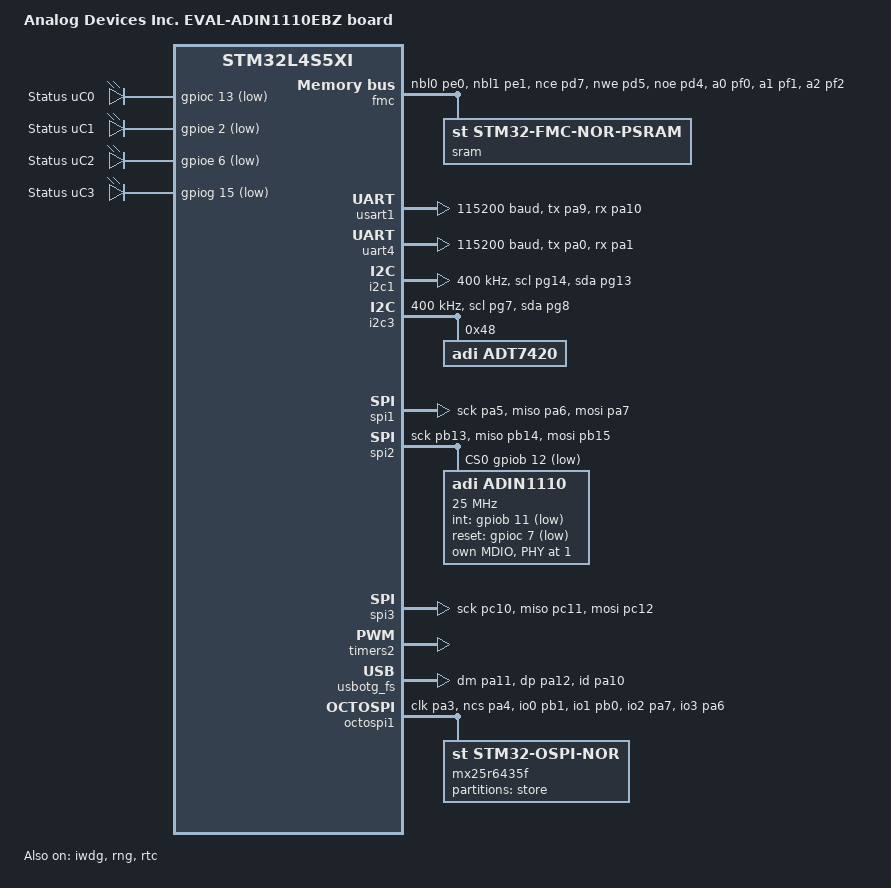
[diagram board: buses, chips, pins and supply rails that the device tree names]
/*
 * Copyright (c) 2024 BayLibre
 *
 * SPDX-License-Identifier: Apache-2.0
 */

/dts-v1/;

#include <st/l4/stm32l4s5Xi.dtsi>
#include <st/l4/stm32l4s5qiix-pinctrl.dtsi>
#include "arduino_r3_connector.dtsi"
#include <zephyr/dt-bindings/memory-controller/stm32-fmc-nor-psram.h>

/ {
	model = "Analog Devices Inc. EVAL-ADIN1110EBZ board";
	compatible = "adi,eval-adin1110ebz";

	chosen {
		zephyr,console = &usart1;
		zephyr,shell-uart = &usart1;
		zephyr,sram = &sram0;
		zephyr,flash = &flash0;
		zephyr,code-partition = &slot0_partition;
		zephyr,flash-controller = &mx25r6435f;
	};

	ram0: psram@60000000 {
		compatible = "zephyr,memory-region", "mmio-sram";
		device_type = "memory";
		reg = <0x60000000 DT_SIZE_M(8)>;
		zephyr,memory-region = "RAM0";
	};

	leds { /* Respecting pcb silkscreen naming */
		compatible = "gpio-leds";
		green_led: led_uC0 {
			gpios = <&gpioc 13 GPIO_ACTIVE_LOW>;
			label = "Status uC0";
		};
		red_led: led_uC1 {
			gpios = <&gpioe 2 GPIO_ACTIVE_LOW>;
			label = "Status uC1 ";
		};
		yellow_led: led_uC2 {
			gpios = <&gpioe 6 GPIO_ACTIVE_LOW>;
			label = "Status uC2";
		};
		blue_led: led_uC3 {
			gpios = <&gpiog 15 GPIO_ACTIVE_LOW>;
			label = "Status uC3";
		};
	};

	aliases {
		led0 = &green_led;
		watchdog0 = &iwdg;
		ambient-temp0 = &adt7420;
	};

	soc {
		fmc: memory-controller@a0000000 {
			compatible = "st,stm32-fmc";
			reg = <0xa0000000 0x400>;
			clocks = <&rcc STM32_CLOCK_BUS_AHB3 0x00000001>;

			sram {
				compatible = "st,stm32-fmc-nor-psram";

				#address-cells = <1>;
				#size-cells = <0>;
			};
		};
	};
};

&clk_lsi {
	status = "okay";
};

&clk_hsi48 {
	status = "okay";
};

&clk_hsi {
	status = "okay";
};

&pll {
	div-m = <4>;
	mul-n = <40>;
	div-q = <2>;
	div-r = <2>;
	clocks = <&clk_hsi>;
	status = "okay";
};

&rcc {
	clocks = <&pll>;
	clock-frequency = <DT_FREQ_M(80)>;
	ahb-prescaler = <1>;
	apb1-prescaler = <1>;
	apb2-prescaler = <1>;
};

&flash0 {
	partitions {
		compatible = "fixed-partitions";
		#address-cells = <1>;
		#size-cells = <1>;

		boot_partition: partition@0 {
			label = "mcuboot";
			reg = <0x00000000 DT_SIZE_K(64)>;
			read-only;
		};

		/*
		 * The flash starting at offset 0x10000 and ending at
		 * offset 0x1ffff is reserved for use by the application.
		 */

		slot0_partition: partition@20000 {
			label = "image-0";
			reg = <0x00020000 DT_SIZE_K(432)>;
		};
		slot1_partition: partition@8c000 {
			label = "image-1";
			reg = <0x0008C000 DT_SIZE_K(432)>;
		};
		scratch_partition: partition@f8000 {
			label = "image-scratch";
			reg = <0x000F8000 DT_SIZE_K(16)>;
		};

		storage_partition: partition@fc000 {
			label = "storage";
			reg = <0x000fc000 DT_SIZE_K(16)>;
		};
	};
};

&iwdg {
	status = "okay";
};

&rng {
	status = "okay";
};

&dma1 {
	status = "okay";
};

&dmamux1 {
	status = "okay";
};

&usart1 { /* USB FT232 */
	pinctrl-0 = <&usart1_tx_pa9 &usart1_rx_pa10>;
	pinctrl-names = "default";
	current-speed = <115200>;
	status = "okay";
};

&uart4 { /* ARDUINO P405 1 & 2 */
	pinctrl-0 = <&uart4_tx_pa0 &uart4_rx_pa1>;
	pinctrl-names = "default";
	current-speed = <115200>;
};

&i2c1 {
	pinctrl-0 = <&i2c1_scl_pg14 &i2c1_sda_pg13>;
	pinctrl-names = "default";
	status = "okay";
	clock-frequency = <I2C_BITRATE_FAST>;
};

&i2c3 {
	pinctrl-0 = <&i2c3_scl_pg7 &i2c3_sda_pg8>;
	pinctrl-names = "default";
	status = "okay";
	clock-frequency = <I2C_BITRATE_FAST>;

	adt7420: adt7420@48 {
		compatible = "adi,adt7420";
		reg = <0x48>;
	};
};

&spi1 {
	pinctrl-0 = <&spi1_sck_pa5 &spi1_miso_pa6 &spi1_mosi_pa7>;
	pinctrl-names = "default";
	cs-gpios = <&gpioa 2 (GPIO_ACTIVE_LOW | GPIO_PULL_UP)>;
};

&spi2 {
	pinctrl-0 = <&spi2_sck_pb13 &spi2_miso_pb14 &spi2_mosi_pb15>;
	pinctrl-names = "default";
	cs-gpios = <&gpiob 12 (GPIO_ACTIVE_LOW | GPIO_PULL_UP)>;
	dmas = <&dmamux1 2 13 (STM32_DMA_MEMORY_TO_PERIPH | STM32_DMA_MEM_INC |
		       STM32_DMA_MEM_8BITS | STM32_DMA_PERIPH_8BITS)>,
		       <&dmamux1 3 12 (STM32_DMA_PERIPH_TO_MEMORY | STM32_DMA_MEM_INC |
		       STM32_DMA_MEM_8BITS | STM32_DMA_PERIPH_8BITS)>;
		dma-names = "tx", "rx";
	status = "okay";

	adin1110: adin1110@0 {
		compatible = "adi,adin1110";
		reg = <0x0>;
		spi-max-frequency = <25000000>;
		int-gpios = <&gpiob 11 GPIO_ACTIVE_LOW>;
		reset-gpios = <&gpioc 7 GPIO_ACTIVE_LOW>;
		status = "okay";
		spi-oa;
		spi-oa-protection;

		port1 {
			local-mac-address = [ 00 E0 22 FE DA C8 ];
		};
		mdio {
			compatible = "adi,adin2111-mdio";
			#address-cells = <1>;
			#size-cells = <0>;

			ethernet-phy@1 {
				reg = <0x1>;
				compatible = "adi,adin2111-phy";
			};
		};
	};
};

&spi3 {
	pinctrl-0 = <&spi3_sck_pc10 &spi3_miso_pc11 &spi3_mosi_pc12>;
	pinctrl-names = "default";
	status = "okay";
};

&timers2 {
	status = "okay";

	pwm2: pwm {
		status = "okay";
		pinctrl-0 = <&tim2_ch1_pa15>;
		pinctrl-names = "default";
	};
};

&rtc {
	clocks = <&rcc STM32_CLOCK_BUS_APB1 0x10000000>,
		 <&rcc STM32_SRC_LSI RTC_SEL(2)>;
	status = "okay";
};

zephyr_udc0: &usbotg_fs {
	pinctrl-0 = <&usb_otg_fs_dm_pa11 &usb_otg_fs_dp_pa12
		     &usb_otg_fs_id_pa10>;
	pinctrl-names = "default";
	status = "okay";
};

&octospi1 {
	pinctrl-0 = <&octospim_p1_clk_pa3 &octospim_p1_ncs_pa4
		     &octospim_p1_io0_pb1 &octospim_p1_io1_pb0
		     &octospim_p1_io2_pa7 &octospim_p1_io3_pa6>;
	pinctrl-names = "default";
	dmas = <&dma1 0 40 0x480>; /* request 40 for OCTOSPI1 */
	dma-names = "tx_rx";

	status = "okay";

	mx25r6435f: ospi-nor-flash@90000000 {
		compatible = "st,stm32-ospi-nor";
		reg = <0x90000000 DT_SIZE_M(8)>; /* 64 Megabits */
		ospi-max-frequency = <DT_FREQ_M(26)>; /* for Voltage Range 2 */
		spi-bus-width = <OSPI_QUAD_MODE>;
		data-rate = <OSPI_STR_TRANSFER>;
		writeoc="PP_1_4_4";

		partitions {
			compatible = "fixed-partitions";
			#address-cells = <1>;
			#size-cells = <1>;

			store_partition: partition@0 {
				label = "store";
				reg = <0x00000000 DT_SIZE_M(8)>;
			};
		};
	};
};

&fmc {
	pinctrl-0 = <&fmc_nbl0_pe0 &fmc_nbl1_pe1
		     &fmc_nce_pd7 &fmc_nwe_pd5 &fmc_noe_pd4
		     &fmc_a0_pf0 &fmc_a1_pf1 &fmc_a2_pf2 &fmc_a3_pf3
		     &fmc_a4_pf4 &fmc_a5_pf5 &fmc_a6_pf12 &fmc_a7_pf13
		     &fmc_a8_pf14 &fmc_a9_pf15 &fmc_a10_pg0 &fmc_a11_pg1
		     &fmc_a12_pg2 &fmc_a13_pg3 &fmc_a14_pg4 &fmc_a15_pg5
		     &fmc_a16_pd11 &fmc_a17_pd12 &fmc_a18_pd13 &fmc_a19_pe3
		     &fmc_a20_pe4 &fmc_a21_pe5
		     &fmc_d0_pd14 &fmc_d1_pd15 &fmc_d2_pd0 &fmc_d3_pd1
		     &fmc_d4_pe7 &fmc_d5_pe8 &fmc_d6_pe9 &fmc_d7_pe10
		     &fmc_d8_pe11 &fmc_d9_pe12 &fmc_d10_pe13 &fmc_d11_pe14
		     &fmc_d12_pe15 &fmc_d13_pd8 &fmc_d14_pd9 &fmc_d15_pd10>;
	pinctrl-names = "default";

	sram {
		bank@0 {
			reg = <0x0>;
			st,control = <STM32_FMC_DATA_ADDRESS_MUX_DISABLE
				      STM32_FMC_MEMORY_TYPE_SRAM
				      STM32_FMC_NORSRAM_MEM_BUS_WIDTH_16
				      STM32_FMC_BURST_ACCESS_MODE_DISABLE
				      STM32_FMC_WAIT_SIGNAL_POLARITY_LOW
				      STM32_FMC_WAIT_TIMING_BEFORE_WS
				      STM32_FMC_WRITE_OPERATION_ENABLE
				      STM32_FMC_WAIT_SIGNAL_DISABLE
				      STM32_FMC_EXTENDED_MODE_DISABLE
				      STM32_FMC_ASYNCHRONOUS_WAIT_DISABLE
				      STM32_FMC_WRITE_BURST_DISABLE
				      STM32_FMC_CONTINUOUS_CLOCK_SYNC_ONLY
				      STM32_FMC_WRITE_FIFO_DISABLE
				      STM32_FMC_PAGE_SIZE_NONE>;
			st,timing = <4 2 3 0 16 17 STM32_FMC_ACCESS_MODE_A>;
		};
	};
};
